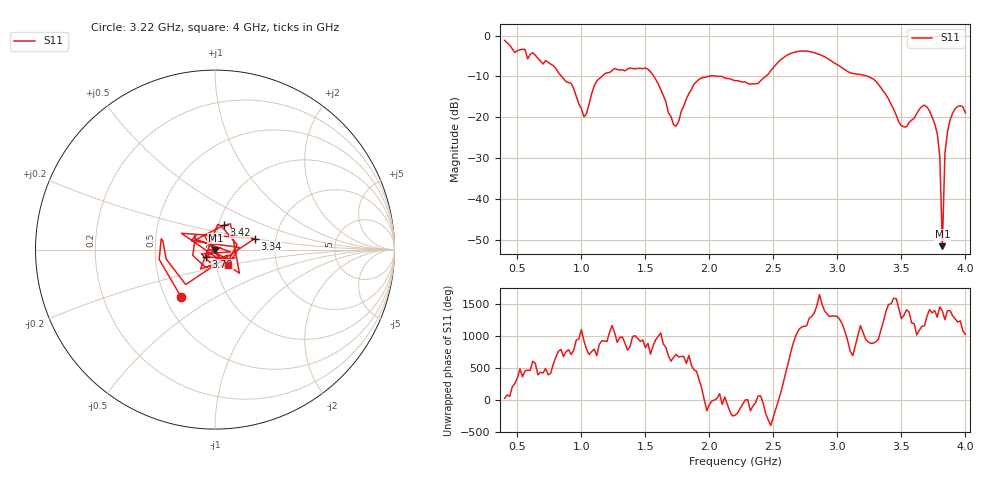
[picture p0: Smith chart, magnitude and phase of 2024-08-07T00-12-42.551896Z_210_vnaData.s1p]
!Created with skrf (http://scikit-rf.org).
# Hz S RI R 50.0
!freq ReS11 ImS11
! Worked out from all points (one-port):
!   181 points, 400 MHz to 4 GHz, reference 50 ohm
!   lowest |S11| = -51.4 dB at 3.82 GHz (marker M1), VSWR 1.01, Z = 50.2 - j0.182 ohm
!   |S11| at or under -10 dB: 1.567 GHz to 1.989 GHz (422.6 MHz wide, 23.8 % of centre); 2.095 GHz to 2.44 GHz (344.9 MHz wide, 15.2 % of centre); 3.239 GHz to end of sweep (the widest 3 of 4)
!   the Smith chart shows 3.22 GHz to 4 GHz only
!   S11 on the Smith chart (normalised r, x): 3.22 GHz: 0.60, -0.35; 3.34 GHz: 1.56, +0.20; 3.42 GHz: 1.06, +0.29; 3.78 GHz: 0.90, -0.07; 4 GHz: 1.14, -0.20
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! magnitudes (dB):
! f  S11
! 400 MHz  -1.2
! 860 MHz  -10.5
! 920 MHz  -11.7
! 1.02 GHz  -19.8
! 1.12 GHz  -11.1
! 1.3 GHz  -8.5
! 1.52 GHz  -8.2
! 1.6 GHz  -11.8
! 1.72 GHz  -21.8
! 1.76 GHz  -21.0
! 1.92 GHz  -10.7
! 2.2 GHz  -11.0
! 2.38 GHz  -11.7
! 2.66 GHz  -4.1
! 3.1 GHz  -9.1
! 3.22 GHz  -9.8
! 3.34 GHz  -12.7
! 3.42 GHz  -16.8
! 3.5 GHz  -22.0
! 3.56 GHz  -21.2
! 3.68 GHz  -17.0
! 3.78 GHz  -23.9
! 3.8 GHz  -29.5
! 3.82 GHz  -51.4
! 3.84 GHz  -28.8
! 3.86 GHz  -23.5
! 3.92 GHz  -17.8
! 4 GHz  -18.9
